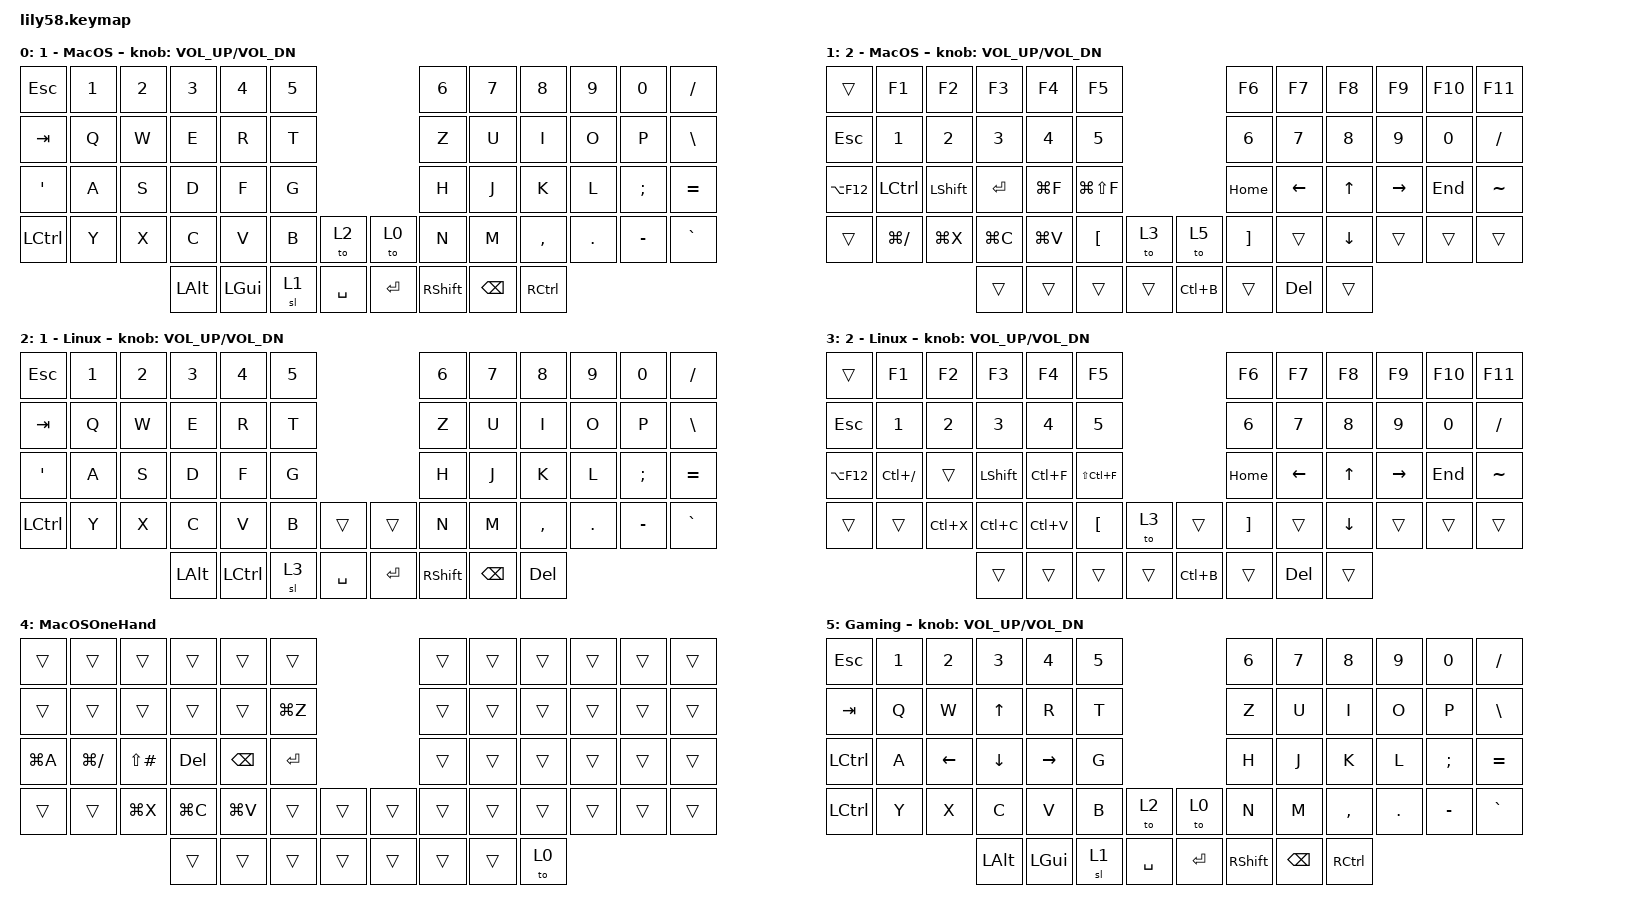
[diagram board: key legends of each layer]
/*
 * Copyright (c) 2020 The ZMK Contributors
 *
 * SPDX-License-Identifier: MIT
 */

#include <behaviors.dtsi>
#include <dt-bindings/zmk/keys.h>

/ {
    keymap {
        compatible = "zmk,keymap";

        MacOS-1 {
            // ------------------------------------------------------------------------------------------------------------
            // |  ESC  |  1  |  2  |  3   |  4   |  5   |                   |  6   |  7    |  8    |  9   |   0   |   `   |
            // |  TAB  |  Q  |  W  |  E   |  R   |  T   |                   |  Y   |  U    |  I    |  O   |   P   |   -   |
            // |  CTRL |  A  |  S  |  D   |  F   |  G   |                   |  H   |  J    |  K    |  L   |   ;   |   '   |
            // | SHIFT |  Z  |  X  |  C   |  V   |  B   |   "["  |  |  "]"  |  N   |  M    |  ,    |  .   |   /   | SHIFT |
            //                     | ALT  | GUI  | LOWER|  SPACE |  | ENTER | RAISE| BSPC  | GUI   |

            display-name = "1 - MacOS";
            bindings = <
&kp ESC           &kp N1  &kp N2  &kp N3    &kp N4    &kp N5                        &kp N6           &kp N7         &kp N8             &kp N9   &kp N0     &kp SLASH
&kp TAB           &kp Q   &kp W   &kp E     &kp R     &kp T                         &kp Z            &kp U          &kp I              &kp O    &kp P      &kp BACKSLASH
&kp SINGLE_QUOTE  &kp A   &kp S   &kp D     &kp F     &kp G                         &kp H            &kp J          &kp K              &kp L    &kp SEMI   &kp EQUAL
&kp LEFT_CONTROL  &kp Y   &kp X   &kp C     &kp V     &kp B   &to 2        &to 0    &kp N            &kp M          &kp COMMA          &kp DOT  &kp MINUS  &kp GRAVE
                                  &kp LALT  &kp LGUI  &sl 1   &kp SPACE    &kp RET  &kp RIGHT_SHIFT  &kp BACKSPACE  &kp RIGHT_CONTROL
            >;

            sensor-bindings = <&inc_dec_kp C_VOL_UP C_VOL_DN>;
        };

        MacOS2 {
            // ------------------------------------------------------------------------------------------------------------
            // | BTCLR | BT1 | BT2 |  BT3 |  BT4 |  BT5 |                   |      |       |       |      |       |       |
            // |  F1   |  F2 |  F3 |  F4  |  F5  |  F6  |                   |  F7  |  F8   |  F9   |  F10 |  F11  |  F12  |
            // |   `   |  !  |  @  |  #   |  $   |  %   |                   |  ^   |  &    |  *    |  (   |   )   |   ~   |
            // |       |     |     |      |      |      |        |  |       |      |  _    |  +    |  {   |   }   |  "|"  |
            //                     |      |      |      |        |  |       |      |       |       |

            display-name = "2 - MacOS";
            bindings = <
&trans       &kp F1         &kp F2          &kp F3        &kp F4        &kp F5                                 &kp F6             &kp F7          &kp F8        &kp F9     &kp F10  &kp F11
&kp ESCAPE   &kp NUMBER_1   &kp NUMBER_2    &kp NUMBER_3  &kp NUMBER_4  &kp N5                                 &kp NUMBER_6       &kp N7          &kp N8        &kp N9     &kp N0   &kp SLASH
&kp LA(F12)  &kp LCTRL      &kp LEFT_SHIFT  &kp ENTER     &kp LG(F)     &kp LG(LS(F))                          &kp HOME           &kp LEFT_ARROW  &kp UP_ARROW  &kp RIGHT  &kp END  &kp TILDE
&trans       &kp LG(SLASH)  &kp LG(X)       &kp LG(C)     &kp LG(V)     &kp LEFT_BRACKET  &to 3     &to 5      &kp RIGHT_BRACKET  &trans          &kp DOWN      &trans     &trans   &trans
                                            &trans        &trans        &trans            &trans    &kp LC(B)  &trans             &kp DELETE      &trans
            >;

            sensor-bindings = <&inc_dec_kp C_VOL_UP C_VOL_DN>;
        };

        Linux1 {
            display-name = "1 - Linux";
            bindings = <
&kp ESC           &kp N1  &kp N2  &kp N3    &kp N4            &kp N5                        &kp N6           &kp N7         &kp N8      &kp N9   &kp N0     &kp SLASH
&kp TAB           &kp Q   &kp W   &kp E     &kp R             &kp T                         &kp Z            &kp U          &kp I       &kp O    &kp P      &kp BACKSLASH
&kp SINGLE_QUOTE  &kp A   &kp S   &kp D     &kp F             &kp G                         &kp H            &kp J          &kp K       &kp L    &kp SEMI   &kp EQUAL
&kp LEFT_CONTROL  &kp Y   &kp X   &kp C     &kp V             &kp B   &trans       &trans   &kp N            &kp M          &kp COMMA   &kp DOT  &kp MINUS  &kp GRAVE
                                  &kp LALT  &kp LEFT_CONTROL  &sl 3   &kp SPACE    &kp RET  &kp RIGHT_SHIFT  &kp BACKSPACE  &kp DELETE
            >;

            sensor-bindings = <&inc_dec_kp C_VOL_UP C_VOL_DN>;
        };

        Linux2 {
            display-name = "2 - Linux";
            bindings = <
&trans       &kp F1         &kp F2        &kp F3        &kp F4        &kp F5                                 &kp F6             &kp F7          &kp F8        &kp F9     &kp F10  &kp F11
&kp ESCAPE   &kp NUMBER_1   &kp NUMBER_2  &kp NUMBER_3  &kp NUMBER_4  &kp N5                                 &kp NUMBER_6       &kp N7          &kp N8        &kp N9     &kp N0   &kp SLASH
&kp LA(F12)  &kp LC(SLASH)  &trans        &kp LSHIFT    &kp LC(F)     &kp LS(LC(F))                          &kp HOME           &kp LEFT_ARROW  &kp UP_ARROW  &kp RIGHT  &kp END  &kp TILDE
&trans       &trans         &kp LC(X)     &kp LC(C)     &kp LC(V)     &kp LEFT_BRACKET  &to 3     &trans     &kp RIGHT_BRACKET  &trans          &kp DOWN      &trans     &trans   &trans
                                          &trans        &trans        &trans            &trans    &kp LC(B)  &trans             &kp DELETE      &trans
            >;

            sensor-bindings = <&inc_dec_kp C_VOL_UP C_VOL_DN>;
        };

        MacOSOneHand {
            bindings = <
&trans     &trans        &trans         &trans     &trans     &trans                       &trans  &trans  &trans  &trans  &trans  &trans
&trans     &trans        &trans         &trans     &trans     &kp LG(Z)                    &trans  &trans  &trans  &trans  &trans  &trans
&kp LG(A)  &kp LG(FSLH)  &kp LS(POUND)  &kp DEL    &kp BSPC   &kp RET                      &trans  &trans  &trans  &trans  &trans  &trans
&trans     &trans        &kp LG(X)      &kp LG(C)  &kp LG(V)  &trans     &trans    &trans  &trans  &trans  &trans  &trans  &trans  &trans
                                        &trans     &trans     &trans     &trans    &trans  &trans  &trans  &to 0
            >;
        };

        Gaming {
            display-name = "Gaming";
            bindings = <
&kp ESC           &kp N1  &kp N2    &kp N3          &kp N4     &kp N5                        &kp N6           &kp N7         &kp N8             &kp N9   &kp N0     &kp SLASH
&kp TAB           &kp Q   &kp W     &kp UP_ARROW    &kp R      &kp T                         &kp Z            &kp U          &kp I              &kp O    &kp P      &kp BACKSLASH
&kp LCTRL         &kp A   &kp LEFT  &kp DOWN_ARROW  &kp RIGHT  &kp G                         &kp H            &kp J          &kp K              &kp L    &kp SEMI   &kp EQUAL
&kp LEFT_CONTROL  &kp Y   &kp X     &kp C           &kp V      &kp B   &to 2        &to 0    &kp N            &kp M          &kp COMMA          &kp DOT  &kp MINUS  &kp GRAVE
                                    &kp LALT        &kp LGUI   &sl 1   &kp SPACE    &kp RET  &kp RIGHT_SHIFT  &kp BACKSPACE  &kp RIGHT_CONTROL
            >;

            sensor-bindings = <&inc_dec_kp C_VOL_UP C_VOL_DN>;
        };

        extra_1 {
            status = "reserved";
            sensor-bindings = <&inc_dec_kp 0 0>;
        };

        extra_2 { status = "reserved"; };

        extra_3 { status = "reserved"; };
    };
};
